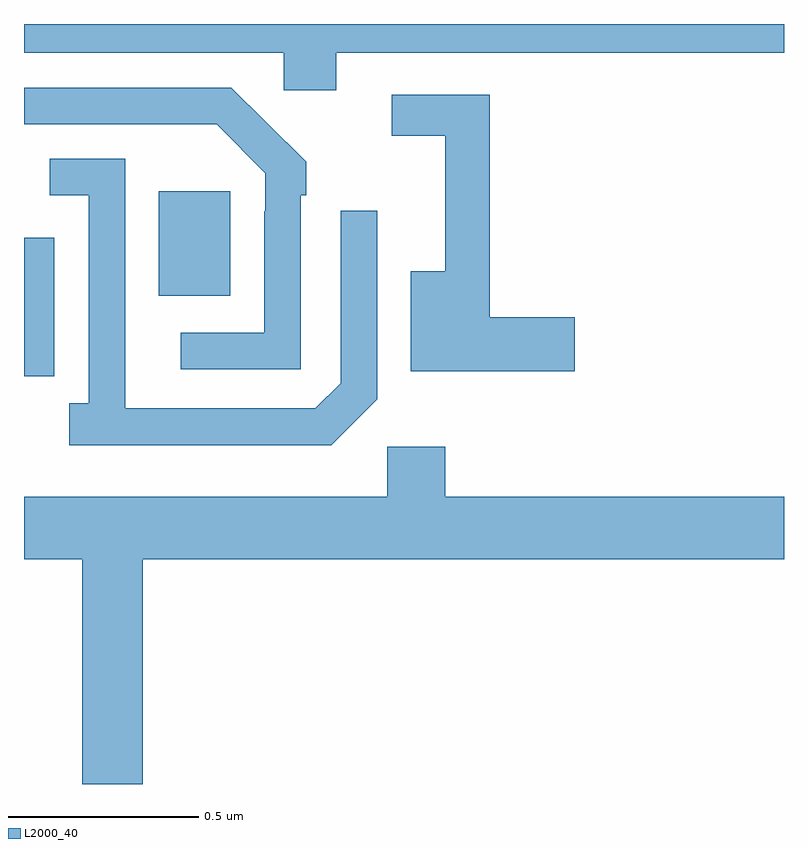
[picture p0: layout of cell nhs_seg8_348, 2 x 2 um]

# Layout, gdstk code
import gdstk
lib = gdstk.Library(unit=1e-6, precision=1e-09)
def R(c, l, rs):  # rectangles x0, y0, x1, y1
    for r in rs: c.add(gdstk.rectangle(r[:2], r[2:], *l))
def P(c, l, *ps):  # polygons
    for p in ps: c.add(gdstk.Polygon(p, *l))
L2000_40 = (2000, 40)

nhs_seg8_348 = lib.new_cell('nhs_seg8_348')
R(nhs_seg8_348, L2000_40, [(115.355,1125.185,115.543,1125.46)])
P(nhs_seg8_348, L2000_40, [(115.822,1125.824),(117,1125.824),(117,1125.9),(115,1125.9),(115,1125.824),(115.683,1125.824),(115.683,1125.726),(115.822,1125.726)],
  [(115.728,1125.449),(115.743,1125.449),(115.743,1125.537),(115.638,1125.642),(115.637,1125.641),(115.546,1125.732),(115,1125.732),(115,1125.636),(115.507,1125.636),(115.635,1125.507),(115.635,1125.407),(115.632,1125.407),(115.632,1125.087),(115.413,1125.087),(115.413,1124.991),(115.728,1124.991)],
  [(116.449,1125.128),(116.225,1125.128),(116.225,1125.714),(115.968,1125.714),(115.968,1125.606),(116.108,1125.606),(116.108,1125.25),(116.018,1125.25),(116.018,1124.986),(116.449,1124.986)],
  [(115.929,1124.913),(115.929,1125.409),(115.833,1125.409),(115.833,1124.955),(115.767,1124.889),(115.267,1124.889),(115.267,1125.089),(115.266,1125.089),(115.266,1125.546),(115.068,1125.546),(115.068,1125.45),(115.17,1125.45),(115.17,1124.902),(115.119,1124.902),(115.119,1124.792),(115.808,1124.792)],
  [(115.079,1125.082),(115.08,1125.082),(115.08,1125.337),(115,1125.337),(115,1124.973),(115.079,1124.973)],
  [(115.313,1124.492),(117,1124.492),(117,1124.656),(116.108,1124.656),(116.108,1124.788),(115.956,1124.788),(115.956,1124.656),(115,1124.656),(115,1124.492),(115.153,1124.492),(115.153,1123.9),(115.313,1123.9)])

lib.write_gds('nhs_seg8_348.gds')
